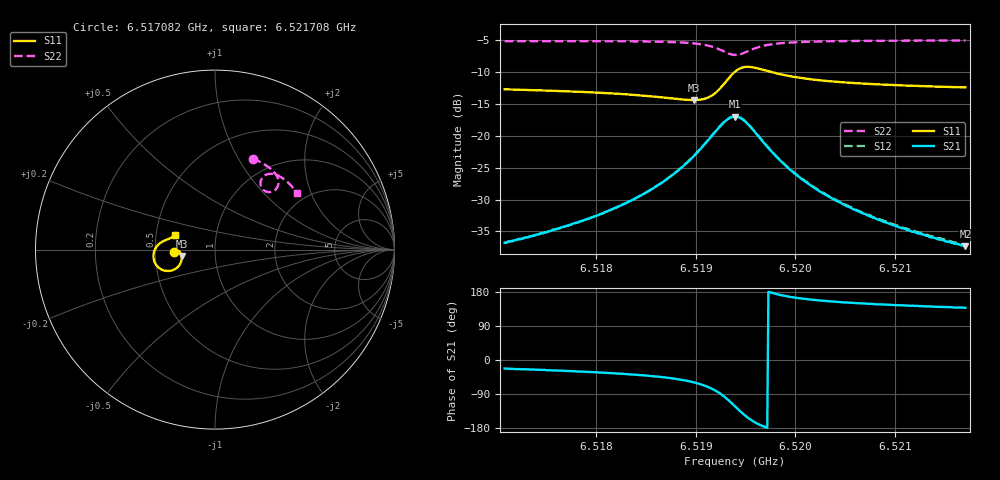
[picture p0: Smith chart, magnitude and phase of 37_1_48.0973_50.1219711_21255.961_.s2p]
#  HZ  S  RI  R  50.00
! Rohde & Schwarz Vector Network Analyzer
! Rohde-Schwarz,ZNB20-2Port,1311601062101988,3.16
! Created: UTC 12/23/2023, 3:38:20 AM
! freq[Hz]  re:S11  im:S11  re:S21  im:S21  re:S12  im:S12  re:S22  im:S22
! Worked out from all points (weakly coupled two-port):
!   401 points, 6.517082 GHz to 6.521708 GHz, reference 50 ohm
!   highest |S21| = -17.02 dB at 6.519395 GHz (marker M1); lowest = -37.3 dB at 6.521708 GHz (marker M2)
!   lowest |S11| = -14.4 dB at 6.518978 GHz (marker M3), VSWR 1.47, Z = 34.2 - j2.48 ohm
!   |S11| at or under -10 dB: start of sweep to 6.519394 GHz; 6.519748 GHz to end of sweep
!   |S22| runs from -7.4 to -5.1 dB; largest |S21 - S12| = 0.0043
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6.5170816e9  -0.23 -0.0156  0.0134 -0.00551  0.0136 -0.00519  0.2097 0.5069
6.5174864e9  -0.2254 -0.00973  0.0157 -0.00766  0.0159 -0.00736  0.2396 0.4939
6.5178565e9  -0.22 -0.00578  0.0185 -0.011  0.0188 -0.0104  0.2669 0.4797
6.518296e9  -0.2108 -0.00407  0.0235 -0.0177  0.0242 -0.0171  0.3001 0.4581
6.5186314e9  -0.2003 -0.0092  0.0296 -0.029  0.0306 -0.0281  0.326 0.4354
6.5188164e9  -0.1928 -0.0183  0.0336 -0.0407  0.035 -0.0399  0.3405 0.4173
6.5189783e9  -0.1866 -0.0349  0.0357 -0.0587  0.0376 -0.0581  0.3512 0.3944
6.5190824e9  -0.186 -0.0541  0.0328 -0.0776  0.0356 -0.077  0.3539 0.3734
6.519175e9  -0.1936 -0.0787  0.0222 -0.0998  0.0253 -0.0999  0.3485 0.3501
6.5193022e9  -0.2375 -0.1155  -0.0225 -0.1289  -0.0189 -0.1305  0.3141 0.3216
6.5193484e9  -0.266 -0.1192  -0.0488 -0.1293  -0.0454 -0.1317  0.2934 0.3208
6.5193947e9  -0.2964 -0.1115  -0.0752 -0.1191  -0.0723 -0.1222  0.2731 0.3295
6.519441e9  -0.3218 -0.0923  -0.0958 -0.0997  -0.0935 -0.1032  0.259 0.3461
6.5194988e9  -0.3398 -0.0602  -0.108 -0.0698  -0.1068 -0.0734  0.2531 0.371
6.5196029e9  -0.3387 -0.00907  -0.1016 -0.0259  -0.1016 -0.0291  0.2678 0.4049
6.5196954e9  -0.3239 0.0183  -0.0859 -0.00488  -0.0865 -0.00728  0.2885 0.4184
6.5199267e9  -0.2905 0.0458  -0.0546 0.012  -0.0556 0.0106  0.3303 0.4202
6.5201696e9  -0.2698 0.0552  -0.0374 0.0143  -0.0383 0.0134  0.3591 0.4091
6.520505e9  -0.2533 0.0617  -0.025 0.0134  -0.0258 0.0129  0.3876 0.3902
6.5209445e9  -0.2403 0.068  -0.0169 0.0116  -0.0173 0.0113  0.4164 0.3642
6.5213377e9  -0.2319 0.0734  -0.0128 0.0101  -0.0132 0.01  0.4385 0.3403
6.5217078e9  -0.2254 0.0786  -0.0101 0.00915  -0.0106 0.00906  0.4566 0.3172
